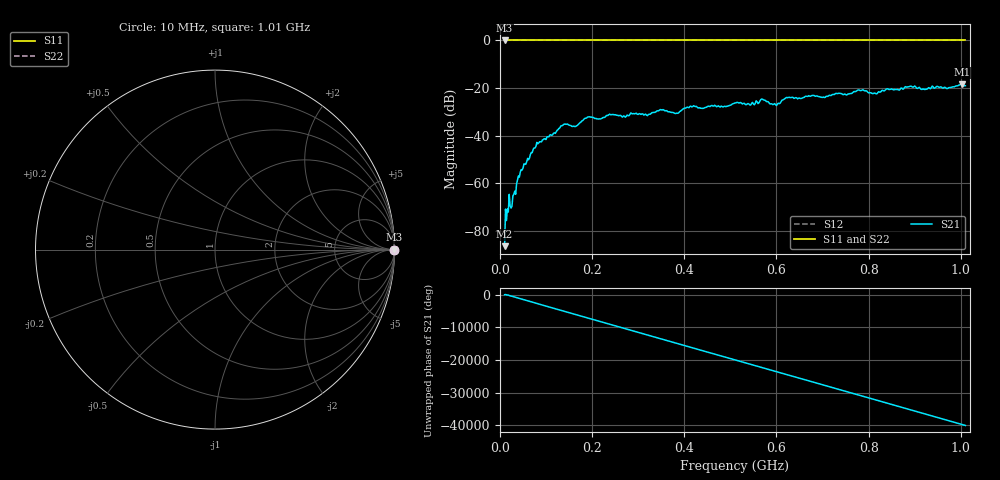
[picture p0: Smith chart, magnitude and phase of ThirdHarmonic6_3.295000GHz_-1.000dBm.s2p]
! 8/17/2025 10:15:33 AM
! C:\ANRITSUVNA\TEMP\TEMP.S2P
! CHANNEL.1
! TR.MEASUREMENT
! RAW.DATA
! RF.CORRECTION.OFF
! AVERAGING.OFF
! IF.BANDWIDTH: 5KHZ
! SWEEPTYPE:  FREQ.SWEEP(Linear)
! Reference Plane Port Info
! PORT:  PORT1  PORT2
! DISTANCE:  0  m  0  m
! TIME:  0  s  0  s
! PHASE.OFFSET:  0  deg.  0  deg.
! LOSS:  0  dB  0  dB
! REF.LOSS:  0  dB  0  dB
! REF.FREQ:  0  Hz  0  Hz
! Power Info
! POWER:  -20  dBm  -20  dBm
! EFF.POWER:  -20  dBm  -20  dBm
! SOURCE.ATTEN:  0  dB  0  dB
! TEST.ATTEN:  0  dB  0  dB
# GHZ S RI R 50.0
! FREQ.GHZ  S11RE  S11IM  S21RE  S21IM  S12RE  S12IM  S22RE  S22IM
!; PortSelection: Port_12
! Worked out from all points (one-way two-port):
!   501 points, 10 MHz to 1.01 GHz, reference 50 ohm
!   highest |S21| = -18.43 dB at 1.002 GHz (marker M1); lowest = -86.5 dB at 10 MHz (marker M2)
!   lowest |S11| = 0.0 dB at 10 MHz (marker M3)
!   |S11| at or under -10 dB: nowhere
!   |S22| runs from 0.0 to 0.0 dB; largest |S21 - S12| = 1.1
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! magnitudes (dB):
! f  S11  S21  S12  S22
! 10 MHz  0.0  -86.5  0.0  0.0
! 16 MHz  0.0  -70.9  0.0  0.0
! 26 MHz  0.0  -69.7  0.0  0.0
! 42 MHz  0.0  -57.5  0.0  0.0
! 76 MHz  0.0  -45.2  0.0  0.0
! 136 MHz  0.0  -35.8  0.0  0.0
! 162 MHz  0.0  -36.2  0.0  0.0
! 178 MHz  0.0  -33.9  0.0  0.0
! 344 MHz  0.0  -29.6  0.0  0.0
! 384 MHz  0.0  -30.6  0.0  0.0
! 416 MHz  0.0  -28.0  0.0  0.0
! 510 MHz  0.0  -26.3  0.0  0.0
! 548 MHz  0.0  -26.1  0.0  0.0
! 570 MHz  0.0  -24.7  0.0  0.0
! 596 MHz  0.0  -26.6  0.0  0.0
! 624 MHz  0.0  -24.1  0.0  0.0
! 678 MHz  0.0  -23.1  0.0  0.0
! 780 MHz  0.0  -20.9  0.0  0.0
! 814 MHz  0.0  -22.2  0.0  0.0
! 844 MHz  0.0  -20.6  0.0  0.0
! 1.002 GHz  0.0  -18.4  0.0  0.0
! 1.01 GHz  0.0  -19.0  0.0  0.0
